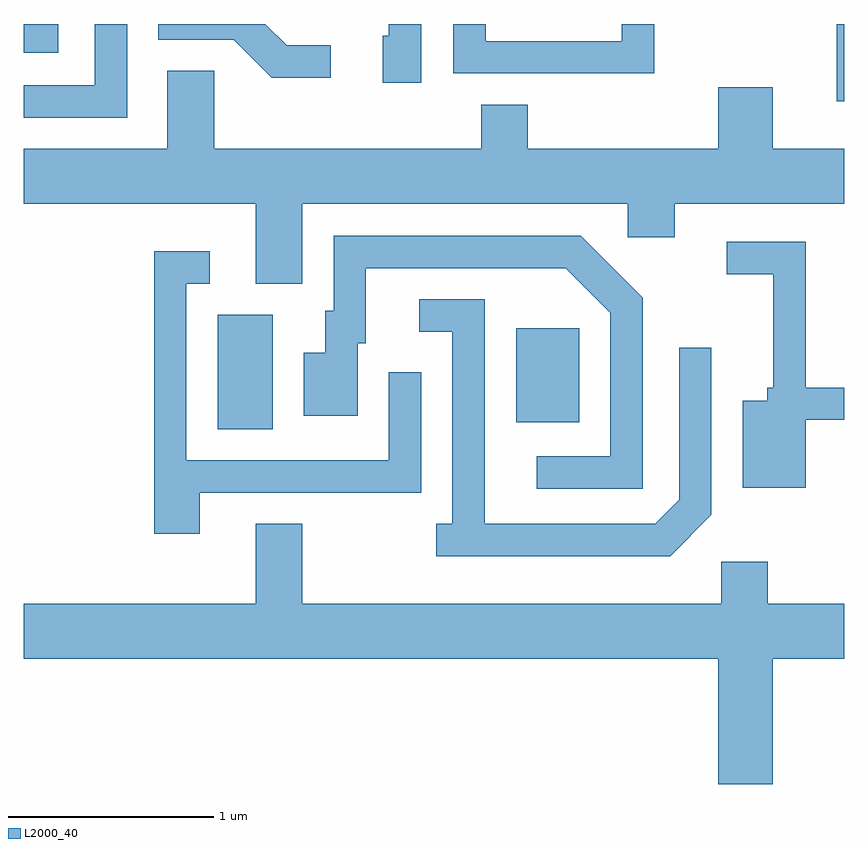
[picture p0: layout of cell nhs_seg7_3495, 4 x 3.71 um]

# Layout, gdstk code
import gdstk
lib = gdstk.Library(unit=1e-6, precision=1e-09)
def R(c, l, rs):  # rectangles x0, y0, x1, y1
    for r in rs: c.add(gdstk.rectangle(r[:2], r[2:], *l))
def P(c, l, *ps):  # polygons
    for p in ps: c.add(gdstk.Polygon(p, *l))
L2000_40 = (2000, 40)

nhs_seg7_3495 = lib.new_cell('nhs_seg7_3495')
R(nhs_seg7_3495, L2000_40, [(292.556,1764.276,292.824,1764.834), (294.011,1764.311,294.319,1764.769), (295.576,1765.876,295.611,1766.252), (291.611,1766.111,291.779,1766.252)])
P(nhs_seg7_3495, L2000_40, [(294.684,1766.252),(294.526,1766.252),(294.526,1766.169),(293.864,1766.169),(293.864,1766.252),(293.706,1766.252),(293.706,1766.011),(294.684,1766.011)],
  [(293.108,1766.149),(292.892,1766.149),(292.789,1766.252),(292.266,1766.252),(292.266,1766.176),(292.634,1766.176),(292.819,1765.991),(293.108,1765.991)],
  [(293.549,1766.252),(293.391,1766.252),(293.391,1766.194),(293.361,1766.194),(293.361,1765.966),(293.549,1765.966)],
  [(292.114,1766.252),(291.956,1766.252),(291.956,1765.954),(291.611,1765.954),(291.611,1765.796),(292.114,1765.796)],
  [(292.741,1764.986),(292.969,1764.986),(292.969,1765.376),(294.556,1765.376),(294.556,1765.211),(294.784,1765.211),(294.784,1765.376),(295.611,1765.376),(295.611,1765.644),(295.264,1765.644),(295.264,1765.944),(294.996,1765.944),(294.996,1765.644),(294.069,1765.644),(294.069,1765.859),(293.841,1765.859),(293.841,1765.644),(292.539,1765.644),(292.539,1766.024),(292.311,1766.024),(292.311,1765.644),(291.611,1765.644),(291.611,1765.376),(292.741,1765.376)],
  [(294.629,1764.917),(294.327,1765.219),(293.121,1765.219),(293.121,1764.854),(293.081,1764.854),(293.081,1764.649),(292.976,1764.649),(292.976,1764.341),(293.239,1764.341),(293.239,1764.696),(293.279,1764.696),(293.279,1765.061),(294.254,1765.061),(294.471,1764.844),(294.471,1764.144),(294.113,1764.144),(294.113,1763.986),(294.629,1763.986)],
  [(295.424,1764.321),(295.611,1764.321),(295.611,1764.479),(295.424,1764.479),(295.424,1765.189),(295.038,1765.189),(295.038,1765.031),(295.266,1765.031),(295.266,1764.479),(295.236,1764.479),(295.236,1764.414),(295.116,1764.414),(295.116,1763.991),(295.424,1763.991)],
  [(292.469,1763.966),(293.549,1763.966),(293.549,1764.553),(293.391,1764.553),(293.391,1764.124),(292.404,1764.124),(292.404,1764.986),(292.518,1764.986),(292.518,1765.144),(292.246,1765.144),(292.246,1763.766),(292.469,1763.766)],
  [(294.964,1763.859),(294.964,1764.673),(294.806,1764.673),(294.806,1763.932),(294.689,1763.814),(293.859,1763.814),(293.859,1764.909),(293.538,1764.909),(293.538,1764.751),(293.701,1764.751),(293.701,1763.814),(293.623,1763.814),(293.623,1763.656),(294.762,1763.656)],
  [(295.264,1763.156),(295.611,1763.156),(295.611,1763.424),(295.239,1763.424),(295.239,1763.629),(295.011,1763.629),(295.011,1763.424),(292.969,1763.424),(292.969,1763.814),(292.741,1763.814),(292.741,1763.424),(291.611,1763.424),(291.611,1763.156),(294.996,1763.156),(294.996,1762.546),(295.264,1762.546)])

lib.write_gds('nhs_seg7_3495.gds')
